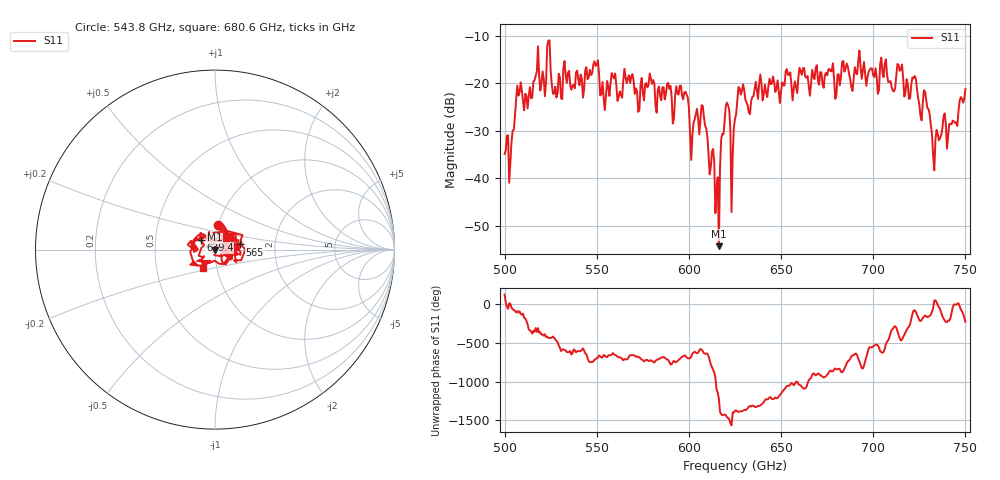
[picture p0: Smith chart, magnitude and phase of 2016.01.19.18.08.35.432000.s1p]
!Created with skrf (http://scikit-rf.org).
# GHz S RI R 50.0
!freq ReS11 ImS11
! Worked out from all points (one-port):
!   401 points, 500 GHz to 750 GHz, reference 50 ohm
!   lowest |S11| = -54.3 dB at 616.2 GHz (marker M1), VSWR 1.00, Z = 49.9 - j0.122 ohm
!   |S11| at or under -10 dB: start of sweep to end of sweep
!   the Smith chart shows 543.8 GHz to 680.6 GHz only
!   S11 on the Smith chart (normalised r, x): 543.8 GHz: 0.99, +0.28; 565 GHz: 1.32, +0.08; 639.4 GHz: 0.85, +0.09; 680.6 GHz: 0.86, -0.18
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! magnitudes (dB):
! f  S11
! 500 GHz  -34.9
! 503.8 GHz  -32.3
! 508.1 GHz  -22.0
! 523.8 GHz  -11.0
! 526.9 GHz  -22.2
! 531.2 GHz  -23.4
! 543.8 GHz  -17.2
! 549.4 GHz  -16.3
! 562.5 GHz  -21.7
! 565 GHz  -17.0
! 593.8 GHz  -22.2
! 601.9 GHz  -31.0
! 608.1 GHz  -27.1
! 615 GHz  -42.0
! 616.2 GHz  -54.3
! 620.6 GHz  -24.1
! 623.1 GHz  -47.1
! 625 GHz  -27.6
! 628.1 GHz  -22.4
! 639.4 GHz  -20.2
! 656.2 GHz  -23.6
! 680.6 GHz  -18.2
! 687.5 GHz  -19.2
! 714.4 GHz  -17.4
! 718.8 GHz  -20.2
! 728.8 GHz  -23.6
! 733.1 GHz  -38.3
! 750 GHz  -21.3
